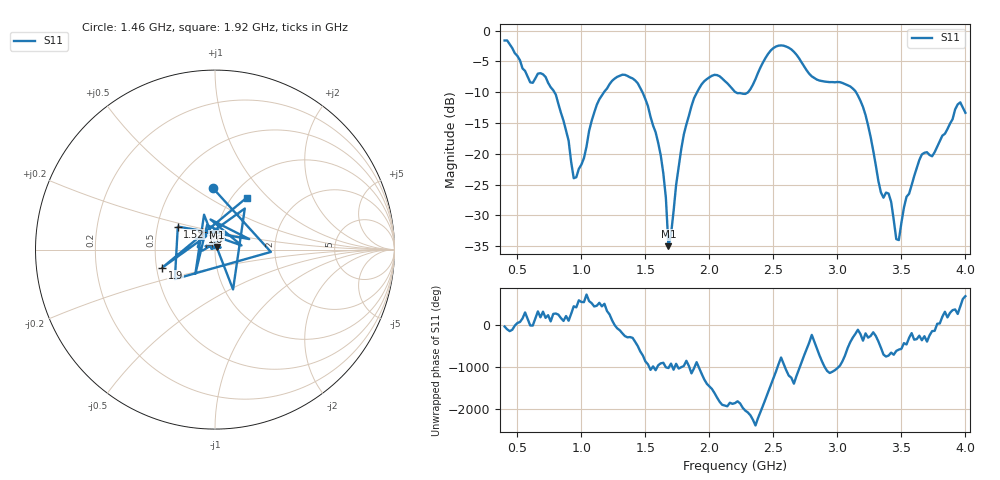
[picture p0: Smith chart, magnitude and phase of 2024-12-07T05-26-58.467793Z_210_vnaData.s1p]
!Created with skrf (http://scikit-rf.org).
# Hz S RI R 50.0
!freq ReS11 ImS11
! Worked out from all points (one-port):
!   181 points, 400 MHz to 4 GHz, reference 50 ohm
!   lowest |S11| = -35.0 dB at 1.68 GHz (marker M1), VSWR 1.04, Z = 50.9 + j1.57 ohm
!   |S11| at or under -10 dB: 788.9 MHz to 1.176 GHz (387.5 MHz wide, 39.4 % of centre); 1.477 GHz to 1.904 GHz (427 MHz wide, 25.3 % of centre); 3.145 GHz to end of sweep (the widest 3 of 4)
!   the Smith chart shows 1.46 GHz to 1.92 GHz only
!   S11 on the Smith chart (normalised r, x): 1.46 GHz: 0.77, +0.60; 1.52 GHz: 0.64, +0.17; 1.6 GHz: 0.85, +0.17; 1.9 GHz: 0.54, -0.12; 1.92 GHz: 1.16, +0.76
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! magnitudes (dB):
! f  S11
! 400 MHz  -1.6
! 600 MHz  -8.4
! 720 MHz  -7.5
! 860 MHz  -14.6
! 960 MHz  -23.8
! 1.12 GHz  -12.1
! 1.3 GHz  -7.3
! 1.46 GHz  -9.3
! 1.52 GHz  -12.3
! 1.6 GHz  -18.2
! 1.66 GHz  -27.1
! 1.68 GHz  -35.0
! 1.76 GHz  -22.2
! 1.9 GHz  -10.1
! 1.92 GHz  -9.4
! 2.2 GHz  -9.9
! 2.5 GHz  -2.8
! 2.66 GHz  -3.4
! 3.1 GHz  -9.1
! 3.22 GHz  -13.7
! 3.34 GHz  -26.3
! 3.42 GHz  -27.8
! 3.46 GHz  -33.9
! 3.56 GHz  -26.5
! 3.66 GHz  -20.1
! 3.74 GHz  -20.4
! 3.94 GHz  -12.0
! 4 GHz  -13.3
